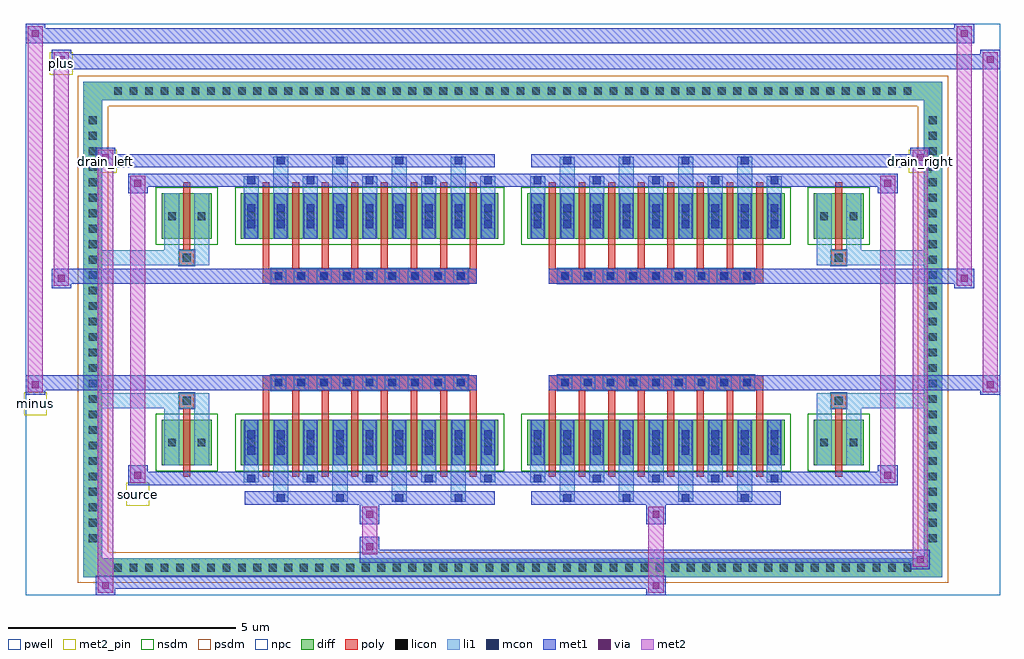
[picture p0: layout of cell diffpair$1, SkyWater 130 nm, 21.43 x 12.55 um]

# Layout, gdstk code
import gdstk
lib = gdstk.Library(unit=1e-6, precision=5e-09)
def R(c, l, rs):  # rectangles x0, y0, x1, y1
    for r in rs: c.add(gdstk.rectangle(r[:2], r[2:], *l))
def A(c, l, x, y, w, h, nx, ny, dx, dy):  # array of equal rectangles
    R(c, l, [(x+i*dx, y+j*dy, x+i*dx+w, y+j*dy+h) for i in range(nx) for j in range(ny)])
def P(c, l, *ps):  # polygons
    for p in ps: c.add(gdstk.Polygon(p, *l))
pwell = (64, 44)
diff = (65, 20)
poly = (66, 20)
licon = (66, 44)
li1 = (67, 20)
mcon = (67, 44)
met1 = (68, 20)
via = (68, 44)
met2_pin = (69, 16)
met2 = (69, 20)
nsdm = (93, 44)
psdm = (94, 20)
npc = (95, 20)

diffpair_1 = lib.new_cell('diffpair$1')
R(diffpair_1, pwell, [(-10.7,-5.84,10.7,6.71), (-8.02,-4.03,-0.01,-0.805), (0.01,-4.03,8.02,-0.805), (-8.02,0.805,-0.01,4.03), (0.01,0.805,8.02,4.03)])
A(diffpair_1, diff, -8.875, -5.44, 0.41, 0.41, 52, 2, 0.34, 10.47)
A(diffpair_1, diff, -9.43, -4.795, 0.41, 0.41, 1, 28, 0, 0.34)
A(diffpair_1, diff, 9.02, -4.795, 0.41, 0.41, 1, 28, 0, 0.34)
R(diffpair_1, diff, [(-8.875,-5.44,8.875,-5.03), (-9.43,-4.795,-9.02,4.795), (9.02,-4.795,9.43,4.795), (-7.71,-2.985,-6.61,-1.985), (-5.97,-2.985,-0.32,-1.985), (0.32,-2.985,5.97,-1.985), (6.61,-2.985,7.71,-1.985), (-7.71,1.985,-6.61,2.985), (-5.97,1.985,-0.32,2.985), (0.32,1.985,5.97,2.985), (6.61,1.985,7.71,2.985), (-8.875,5.03,8.875,5.44)])
P(diffpair_1, diff, [(9.43,5.44),(-9.43,5.44),(-9.43,-5.03),(-9.02,-5.03),(-9.02,5.03),(9.02,5.03),(9.02,-5.03),(-9.02,-5.03),(-9.43,-5.03),(-9.43,-5.44),(9.43,-5.44)])
A(diffpair_1, poly, -5.495, -3.235, 0.15, 1.5, 8, 2, 0.65, 4.97)
A(diffpair_1, poly, 0.795, -3.235, 0.15, 1.5, 8, 2, 0.65, 4.97)
A(diffpair_1, poly, -5.495, -1.735, 0.15, 0.4, 8, 2, 0.65, 3.07)
A(diffpair_1, poly, 0.795, -1.735, 0.15, 0.4, 8, 2, 0.65, 3.07)
A(diffpair_1, poly, -5.31, -1.335, 0.33, 0.33, 9, 2, 0.5, 2.34)
A(diffpair_1, poly, 0.98, -1.335, 0.33, 0.33, 9, 2, 0.5, 2.34)
R(diffpair_1, poly, [(-7.235,-3.235,-7.085,-1.735), (7.085,-3.235,7.235,-1.735), (-7.325,-1.735,-6.995,-1.405), (-7.325,-1.735,-6.995,-1.405), (6.995,-1.735,7.325,-1.405), (6.995,-1.735,7.325,-1.405), (-5.495,-1.335,-0.795,-1.005), (0.795,-1.335,5.495,-1.005), (-5.495,1.005,-0.795,1.335), (0.795,1.005,5.495,1.335), (-7.325,1.405,-6.995,1.735), (-7.325,1.405,-6.995,1.735), (6.995,1.405,7.325,1.735), (6.995,1.405,7.325,1.735), (-7.235,1.735,-7.085,3.235), (7.085,1.735,7.235,3.235)])
A(diffpair_1, licon, -8.755, -5.32, 0.17, 0.17, 52, 2, 0.34, 10.47)
A(diffpair_1, licon, -9.31, -4.675, 0.17, 0.17, 1, 28, 0, 0.34)
A(diffpair_1, licon, 9.14, -4.675, 0.17, 0.17, 1, 28, 0, 0.34)
A(diffpair_1, licon, -5.83, -2.57, 0.17, 0.17, 9, 2, 0.65, 4.97)
A(diffpair_1, licon, 0.46, -2.57, 0.17, 0.17, 9, 2, 0.65, 4.97)
A(diffpair_1, licon, -5.23, -1.255, 0.17, 0.17, 9, 2, 0.5, 2.34)
A(diffpair_1, licon, 1.06, -1.255, 0.17, 0.17, 9, 2, 0.5, 2.34)
R(diffpair_1, licon, [(-7.57,-2.57,-7.4,-2.4), (-6.92,-2.57,-6.75,-2.4), (6.75,-2.57,6.92,-2.4), (7.4,-2.57,7.57,-2.4), (-7.245,-1.655,-7.075,-1.485), (7.075,-1.655,7.245,-1.485), (-7.245,1.485,-7.075,1.655), (7.075,1.485,7.245,1.655), (-7.57,2.4,-7.4,2.57), (-6.92,2.4,-6.75,2.57), (6.75,2.4,6.92,2.57), (7.4,2.4,7.57,2.57)])
A(diffpair_1, li1, -8.835, -5.4, 0.33, 0.33, 52, 2, 0.34, 10.47)
A(diffpair_1, li1, -9.39, -4.755, 0.33, 0.33, 1, 28, 0, 0.34)
A(diffpair_1, li1, 9.06, -4.755, 0.33, 0.33, 1, 28, 0, 0.34)
A(diffpair_1, li1, -5.26, -3.79, 0.33, 0.805, 4, 2, 1.3, 6.775)
A(diffpair_1, li1, -5.18, -3.79, 0.17, 0.17, 4, 2, 1.3, 7.41)
A(diffpair_1, li1, 1.03, -3.79, 0.33, 0.805, 4, 2, 1.3, 6.775)
A(diffpair_1, li1, 1.11, -3.79, 0.17, 0.17, 4, 2, 1.3, 7.41)
A(diffpair_1, li1, -5.91, -3.36, 0.33, 0.375, 5, 2, 1.3, 6.345)
A(diffpair_1, li1, -5.83, -3.36, 0.17, 0.17, 5, 2, 1.3, 6.55)
A(diffpair_1, li1, 0.38, -3.36, 0.33, 0.375, 5, 2, 1.3, 6.345)
A(diffpair_1, li1, 0.46, -3.36, 0.17, 0.17, 5, 2, 1.3, 6.55)
A(diffpair_1, li1, -5.91, -2.985, 0.33, 1, 9, 2, 0.65, 4.97)
A(diffpair_1, li1, 0.38, -2.985, 0.33, 1, 9, 2, 0.65, 4.97)
A(diffpair_1, li1, -5.83, -2.75, 0.17, 0.17, 9, 2, 0.65, 0.36)
A(diffpair_1, li1, -5.83, -2.75, 0.17, 0.53, 9, 2, 0.65, 4.97)
A(diffpair_1, li1, 0.46, -2.75, 0.17, 0.17, 9, 2, 0.65, 0.36)
A(diffpair_1, li1, 0.46, -2.75, 0.17, 0.53, 9, 2, 0.65, 4.97)
A(diffpair_1, li1, -5.91, -2.65, 0.33, 0.33, 9, 2, 0.65, 4.97)
A(diffpair_1, li1, 0.38, -2.65, 0.33, 0.33, 9, 2, 0.65, 4.97)
A(diffpair_1, li1, -5.31, -1.335, 0.33, 0.33, 9, 2, 0.5, 2.34)
A(diffpair_1, li1, 0.98, -1.335, 0.33, 0.33, 9, 2, 0.5, 2.34)
A(diffpair_1, li1, -5.83, 2.22, 0.17, 0.17, 9, 2, 0.65, 0.36)
A(diffpair_1, li1, 0.46, 2.22, 0.17, 0.17, 9, 2, 0.65, 0.36)
R(diffpair_1, li1, [(-9.43,-5.44,-9.02,-5.03), (-9.43,-5.44,-9.02,-5.03), (-9.02,-5.44,9.02,-5.03), (9.02,-5.44,9.43,-5.03), (9.02,-5.44,9.43,-5.03), (-9.43,-5.03,-9.02,5.03), (9.02,-5.03,9.43,5.03), (-7.65,-2.985,-7.32,-1.985), (-7,-2.985,-6.67,-1.985), (6.67,-2.985,7,-1.985), (7.32,-2.985,7.65,-1.985), (-7.65,-2.65,-7.32,-2.32), (-7,-2.65,-6.67,-2.32), (6.67,-2.65,7,-2.32), (7.32,-2.65,7.65,-2.32), (-7.65,-1.985,-7.32,-1.405), (-7,-1.985,-6.67,-1.405), (6.67,-1.985,7,-1.405), (7.32,-1.985,7.65,-1.405), (-9.43,-1.735,-7.325,-1.405), (-7.65,-1.735,-7.325,-1.405), (-7.325,-1.735,-6.995,-1.405), (-6.995,-1.735,-6.67,-1.405), (6.67,-1.735,6.995,-1.405), (6.995,-1.735,7.325,-1.405), (6.995,-1.735,9.43,-1.405), (7.325,-1.735,7.65,-1.405), (-9.43,1.405,-7.325,1.735), (-7.65,1.405,-7.325,1.735), (-7.65,1.405,-7.32,1.985), (-7.325,1.405,-6.995,1.735), (-7,1.405,-6.67,1.985), (-6.995,1.405,-6.67,1.735), (6.67,1.405,6.995,1.735), (6.67,1.405,7,1.985), (6.995,1.405,7.325,1.735), (6.995,1.405,9.43,1.735), (7.32,1.405,7.65,1.985), (7.325,1.405,7.65,1.735), (-7.65,1.985,-7.32,2.985), (-7,1.985,-6.67,2.985), (6.67,1.985,7,2.985), (7.32,1.985,7.65,2.985), (-7.65,2.32,-7.32,2.65), (-7,2.32,-6.67,2.65), (6.67,2.32,7,2.65), (7.32,2.32,7.65,2.65), (-9.43,5.03,-9.02,5.44), (-9.43,5.03,-9.02,5.44), (-9.02,5.03,9.02,5.44), (9.02,5.03,9.43,5.44), (9.02,5.03,9.43,5.44)])
A(diffpair_1, mcon, -5.18, -3.79, 0.17, 0.17, 4, 2, 1.3, 7.41)
A(diffpair_1, mcon, 1.11, -3.79, 0.17, 0.17, 4, 2, 1.3, 7.41)
A(diffpair_1, mcon, -5.83, -3.36, 0.17, 0.17, 5, 2, 1.3, 6.55)
A(diffpair_1, mcon, 0.46, -3.36, 0.17, 0.17, 5, 2, 1.3, 6.55)
A(diffpair_1, mcon, -5.83, -2.75, 0.17, 0.17, 9, 2, 0.65, 0.36)
A(diffpair_1, mcon, 0.46, -2.75, 0.17, 0.17, 9, 2, 0.65, 0.36)
A(diffpair_1, mcon, -5.23, -1.255, 0.17, 0.17, 9, 2, 0.5, 2.34)
A(diffpair_1, mcon, 1.06, -1.255, 0.17, 0.17, 9, 2, 0.5, 2.34)
A(diffpair_1, mcon, -5.83, 2.22, 0.17, 0.17, 9, 2, 0.65, 0.36)
A(diffpair_1, mcon, 0.46, 2.22, 0.17, 0.17, 9, 2, 0.65, 0.36)
A(diffpair_1, met1, -5.24, -3.85, 0.29, 0.29, 4, 2, 1.3, 7.41)
A(diffpair_1, met1, 1.05, -3.85, 0.29, 0.29, 4, 2, 1.3, 7.41)
A(diffpair_1, met1, -5.89, -3.42, 0.29, 0.29, 5, 2, 1.3, 6.55)
A(diffpair_1, met1, 0.4, -3.42, 0.29, 0.29, 5, 2, 1.3, 6.55)
A(diffpair_1, met1, -5.89, -2.985, 0.29, 1, 9, 2, 0.65, 4.97)
A(diffpair_1, met1, 0.4, -2.985, 0.29, 1, 9, 2, 0.65, 4.97)
A(diffpair_1, met1, -5.89, -2.81, 0.29, 0.29, 9, 2, 0.65, 0.36)
A(diffpair_1, met1, 0.4, -2.81, 0.29, 0.29, 9, 2, 0.65, 0.36)
A(diffpair_1, met1, -5.29, -1.315, 0.29, 0.29, 9, 2, 0.5, 2.34)
A(diffpair_1, met1, 1, -1.315, 0.29, 0.29, 9, 2, 0.5, 2.34)
A(diffpair_1, met1, -5.89, 2.16, 0.29, 0.29, 9, 2, 0.65, 0.36)
A(diffpair_1, met1, 0.4, 2.16, 0.29, 0.29, 9, 2, 0.65, 0.36)
R(diffpair_1, met1, [(-9.16,-5.84,-8.73,-5.41), (2.93,-5.84,3.36,-5.41), (-9.16,-5.7,3.36,-5.41), (8.73,-5.27,9.16,-4.84), (-3.36,-5.13,9.16,-4.84), (-3.36,-4.99,-2.93,-4.56), (-3.36,-4.28,-2.93,-3.85), (2.93,-4.28,3.36,-3.85), (-5.89,-3.85,-0.4,-3.56), (0.4,-3.85,5.89,-3.56), (-8.45,-3.42,-8.02,-2.99), (-8.45,-3.42,-5.89,-3.13), (-5.89,-3.42,-0.4,-3.13), (-0.4,-3.42,0.4,-3.13), (0.4,-3.42,5.89,-3.13), (5.89,-3.42,8.45,-3.13), (8.02,-3.42,8.45,-2.99), (-10.7,-1.435,-10.27,-1.005), (10.27,-1.435,10.7,-1.005), (-10.7,-1.335,-0.795,-1.005), (-5.495,-1.335,-0.795,-1.005), (0.795,-1.335,5.495,-1.005), (0.795,-1.335,10.7,-1.005), (-10.13,0.905,-9.7,1.335), (9.7,0.905,10.13,1.335), (-10.13,1.005,-5.495,1.335), (-5.495,1.005,-0.795,1.335), (0.795,1.005,5.495,1.335), (5.495,1.005,10.13,1.335), (-8.45,2.99,-8.02,3.42), (8.02,2.99,8.45,3.42), (-8.45,3.13,-5.89,3.42), (-5.89,3.13,-0.4,3.42), (-0.4,3.13,0.4,3.42), (0.4,3.13,5.89,3.42), (5.89,3.13,8.45,3.42), (-9.16,3.56,-8.73,3.99), (-9.16,3.56,-5.89,3.85), (-5.89,3.56,-0.4,3.85), (0.4,3.56,5.89,3.85), (5.89,3.56,9.16,3.85), (8.73,3.56,9.16,3.99), (-10.13,5.71,-9.7,6.14), (-10.13,5.71,-8.02,6.04), (-8.02,5.71,8.02,6.04), (8.02,5.71,10.7,6.04), (10.27,5.71,10.7,6.14), (-10.7,6.28,-10.27,6.71), (-10.7,6.28,-8.02,6.61), (-8.02,6.28,8.02,6.61), (8.02,6.28,10.13,6.61), (9.7,6.28,10.13,6.71)])
R(diffpair_1, via, [(-9.02,-5.7,-8.87,-5.55), (3.07,-5.7,3.22,-5.55), (8.87,-5.13,9.02,-4.98), (-3.22,-4.85,-3.07,-4.7), (-3.22,-4.14,-3.07,-3.99), (3.07,-4.14,3.22,-3.99), (-8.31,-3.28,-8.16,-3.13), (8.16,-3.28,8.31,-3.13), (-10.56,-1.295,-10.41,-1.145), (10.41,-1.295,10.56,-1.145), (-9.99,1.045,-9.84,1.195), (9.84,1.045,9.99,1.195), (-8.31,3.13,-8.16,3.28), (8.16,3.13,8.31,3.28), (-9.02,3.7,-8.87,3.85), (8.87,3.7,9.02,3.85), (-9.99,5.85,-9.84,6), (10.41,5.85,10.56,6), (-10.56,6.42,-10.41,6.57), (9.84,6.42,9.99,6.57)])
R(diffpair_1, met2_pin, [(-8.485,-3.87,-7.985,-3.37), (-10.735,-1.885,-10.235,-1.385), (-9.195,3.44,-8.695,3.94), (8.695,3.44,9.195,3.94), (-10.165,5.59,-9.665,6.09)])
R(diffpair_1, met2, [(-9.11,-5.79,-8.78,-5.46), (-9.11,-5.79,-8.78,3.94), (2.98,-5.79,3.31,-5.46), (2.98,-5.46,3.31,-4.23), (8.78,-5.22,9.11,-4.89), (8.78,-5.22,9.11,3.94), (-3.31,-4.94,-2.98,-4.61), (-3.31,-4.61,-2.98,-4.23), (-3.31,-4.23,-2.98,-3.9), (2.98,-4.23,3.31,-3.9), (-8.4,-3.37,-8.07,-3.04), (-8.4,-3.37,-8.07,3.37), (8.07,-3.37,8.4,-3.04), (8.07,-3.37,8.4,3.37), (-10.65,-1.385,-10.32,-1.055), (-10.65,-1.385,-10.32,6.66), (10.32,-1.385,10.65,-1.055), (10.32,-1.385,10.65,6.09), (-10.08,0.955,-9.75,1.285), (-10.08,0.955,-9.75,6.09), (9.75,0.955,10.08,1.285), (9.75,0.955,10.08,6.66), (-8.4,3.04,-8.07,3.37), (8.07,3.04,8.4,3.37), (-9.11,3.61,-8.78,3.94), (8.78,3.61,9.11,3.94), (-10.08,5.76,-9.75,6.09), (10.32,5.76,10.65,6.09), (-10.65,6.33,-10.32,6.66), (9.75,6.33,10.08,6.66)])
P(diffpair_1, met2, [(10.65,-1.385),(10.65,-1.385),(10.65,-1.055),(10.65,-1.055)],
  [(10.65,5.76),(10.65,5.76),(10.65,6.09),(10.65,6.09)],
  [(-10.32,-1.385),(-10.32,-1.385),(-10.32,-1.055),(-10.32,-1.055)],
  [(-10.32,6.33),(-10.32,6.33),(-10.32,6.66),(-10.32,6.66)],
  [(10.08,0.955),(10.08,0.955),(10.08,1.285),(10.08,1.285)],
  [(10.08,6.33),(10.08,6.33),(10.08,6.66),(10.08,6.66)],
  [(-9.75,0.955),(-9.75,0.955),(-9.75,1.285),(-9.75,1.285)],
  [(-9.75,5.76),(-9.75,5.76),(-9.75,6.09),(-9.75,6.09)],
  [(-8.78,-5.79),(-8.78,-5.79),(-8.78,-5.46),(-8.78,-5.46)],
  [(-8.78,3.61),(-8.78,3.61),(-8.78,3.94),(-8.78,3.94)],
  [(9.11,-5.22),(9.11,-5.22),(9.11,-4.89),(9.11,-4.89)],
  [(9.11,3.61),(9.11,3.61),(9.11,3.94),(9.11,3.94)],
  [(-8.07,-3.37),(-8.07,-3.37),(-8.07,-3.04),(-8.07,-3.04)],
  [(-8.07,3.04),(-8.07,3.04),(-8.07,3.37),(-8.07,3.37)],
  [(8.4,-3.37),(8.4,-3.37),(8.4,-3.04),(8.4,-3.04)],
  [(8.4,3.04),(8.4,3.04),(8.4,3.37),(8.4,3.37)])
R(diffpair_1, nsdm, [(-7.84,-3.115,-6.48,-1.855), (-6.1,-3.115,-0.19,-1.855), (0.19,-3.115,6.1,-1.855), (6.48,-3.115,7.84,-1.855), (-7.84,1.855,-6.48,3.115), (-6.1,1.855,-0.19,3.115), (0.19,1.855,6.1,3.115), (6.48,1.855,7.84,3.115)])
P(diffpair_1, psdm, [(9.56,5.57),(-9.56,5.57),(-9.56,-4.9),(-8.89,-4.9),(-8.89,4.9),(8.89,4.9),(8.89,-4.9),(-8.89,-4.9),(-9.56,-4.9),(-9.56,-5.57),(9.56,-5.57)])
A(diffpair_1, npc, -5.33, -1.355, 0.37, 0.37, 9, 2, 0.5, 2.34)
A(diffpair_1, npc, 0.96, -1.355, 0.37, 0.37, 9, 2, 0.5, 2.34)
R(diffpair_1, npc, [(-7.345,-1.755,-6.975,-1.385), (6.975,-1.755,7.345,-1.385), (-5.33,-1.355,-4.46,-0.985), (-5.33,-1.355,-4.46,-0.985), (-4.83,-1.355,-3.96,-0.985), (-4.83,-1.355,-3.96,-0.985), (-4.33,-1.355,-3.46,-0.985), (-4.33,-1.355,-3.46,-0.985), (-3.83,-1.355,-2.96,-0.985), (-3.83,-1.355,-2.96,-0.985), (-3.33,-1.355,-2.46,-0.985), (-3.33,-1.355,-2.46,-0.985), (-2.83,-1.355,-1.96,-0.985), (-2.83,-1.355,-1.96,-0.985), (-2.33,-1.355,-1.46,-0.985), (-2.33,-1.355,-1.46,-0.985), (-1.83,-1.355,-0.96,-0.985), (-1.83,-1.355,-0.96,-0.985), (0.96,-1.355,1.83,-0.985), (0.96,-1.355,1.83,-0.985), (1.46,-1.355,2.33,-0.985), (1.46,-1.355,2.33,-0.985), (1.96,-1.355,2.83,-0.985), (1.96,-1.355,2.83,-0.985), (2.46,-1.355,3.33,-0.985), (2.46,-1.355,3.33,-0.985), (2.96,-1.355,3.83,-0.985), (2.96,-1.355,3.83,-0.985), (3.46,-1.355,4.33,-0.985), (3.46,-1.355,4.33,-0.985), (3.96,-1.355,4.83,-0.985), (3.96,-1.355,4.83,-0.985), (4.46,-1.355,5.33,-0.985), (4.46,-1.355,5.33,-0.985), (-5.33,0.985,-4.46,1.355), (-5.33,0.985,-4.46,1.355), (-4.83,0.985,-3.96,1.355), (-4.83,0.985,-3.96,1.355), (-4.33,0.985,-3.46,1.355), (-4.33,0.985,-3.46,1.355), (-3.83,0.985,-2.96,1.355), (-3.83,0.985,-2.96,1.355), (-3.33,0.985,-2.46,1.355), (-3.33,0.985,-2.46,1.355), (-2.83,0.985,-1.96,1.355), (-2.83,0.985,-1.96,1.355), (-2.33,0.985,-1.46,1.355), (-2.33,0.985,-1.46,1.355), (-1.83,0.985,-0.96,1.355), (-1.83,0.985,-0.96,1.355), (0.96,0.985,1.83,1.355), (0.96,0.985,1.83,1.355), (1.46,0.985,2.33,1.355), (1.46,0.985,2.33,1.355), (1.96,0.985,2.83,1.355), (1.96,0.985,2.83,1.355), (2.46,0.985,3.33,1.355), (2.46,0.985,3.33,1.355), (2.96,0.985,3.83,1.355), (2.96,0.985,3.83,1.355), (3.46,0.985,4.33,1.355), (3.46,0.985,4.33,1.355), (3.96,0.985,4.83,1.355), (3.96,0.985,4.83,1.355), (4.46,0.985,5.33,1.355), (4.46,0.985,5.33,1.355), (-7.345,1.385,-6.975,1.755), (6.975,1.385,7.345,1.755)])
diffpair_1.add(gdstk.Label('minus', (-10.485,-1.635), layer=69, texttype=5))
diffpair_1.add(gdstk.Label('drain_right', (8.945,3.69), layer=69, texttype=5))
diffpair_1.add(gdstk.Label('drain_left', (-8.945,3.69), layer=69, texttype=5))
diffpair_1.add(gdstk.Label('source', (-8.235,-3.62), layer=69, texttype=5))
diffpair_1.add(gdstk.Label('plus', (-9.915,5.84), layer=69, texttype=5))

lib.write_gds('diffpair_1.gds')
